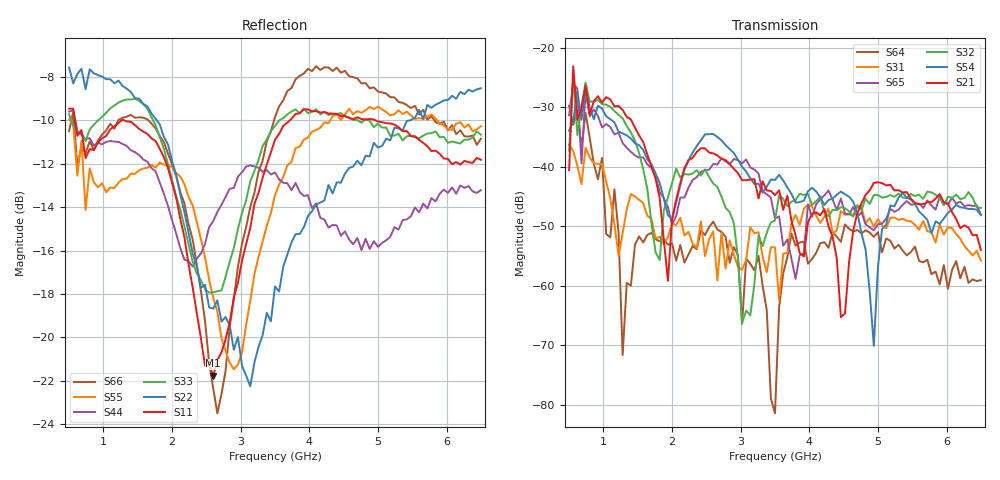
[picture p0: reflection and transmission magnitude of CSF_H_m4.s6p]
!Keysight Technologies,M9804A,MY58100912,A.14.10.03
!Date: Thursday, April 27, 2023 10:28:33
!Correction: S11(C  6-Port  )
!S12(C  6-Port  )
!S13(C  6-Port  )
!S14(C  6-Port  )
!S15(C  6-Port  )
!S16(C  6-Port  )
!S21(C  6-Port  )
!S22(C  6-Port  )
!S23(C  6-Port  )
!S24(C  6-Port  )
!S25(C  6-Port  )
!S26(C  6-Port  )
!S31(C  6-Port  )
!S32(C  6-Port  )
!S33(C  6-Port  )
!S34(C  6-Port  )
!S35(C  6-Port  )
!S36(C  6-Port  )
!S41(C  6-Port  )
!S42(C  6-Port  )
!S43(C  6-Port  )
!S44(C  6-Port  )
!S45(C  6-Port  )
!S46(C  6-Port  )
!S51(C  6-Port  )
!S52(C  6-Port  )
!S53(C  6-Port  )
!S54(C  6-Port  )
!S55(C  6-Port  )
!S56(C  6-Port  )
!S61(C  6-Port  )
!S62(C  6-Port  )
!S63(C  6-Port  )
!S64(C  6-Port  )
!S65(C  6-Port  )
!S66(C  6-Port  )
!S6P File: Measurement: :
# Hz S  RI  R 50
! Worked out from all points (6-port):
!   101 points, 500 MHz to 6.5 GHz, reference 50 ohm
!   strongest paths, dB at 500 MHz, 2 GHz, 3.5 GHz, 5 GHz, 6.5 GHz:
!     S21: -40.5, -48.8, -44.8, -42.6, -54.0
!     S54: -33.9, -48.8, -42.2, -56.9, -48.1
!     S32: -37.3, -42.7, -49.0, -44.7, -46.9
!     S65: -31.3, -49.7, -48.7, -49.7, -48.0
!     S31: -36.3, -49.6, -53.5, -48.8, -55.8
!     S64: -29.7, -52.9, -81.5, -51.0, -59.1
!   lowest |S11| = -21.8 dB at 2.6 GHz (marker M1), VSWR 1.18, Z = 42.7 + j1.96 ohm
!   |S11| at or under -10 dB: 585.7 MHz to 1.268 GHz (682.2 MHz wide, 73.6 % of centre); 1.302 GHz to 3.717 GHz (2.415 GHz wide, 96.2 % of centre); 4.963 GHz to end of sweep
